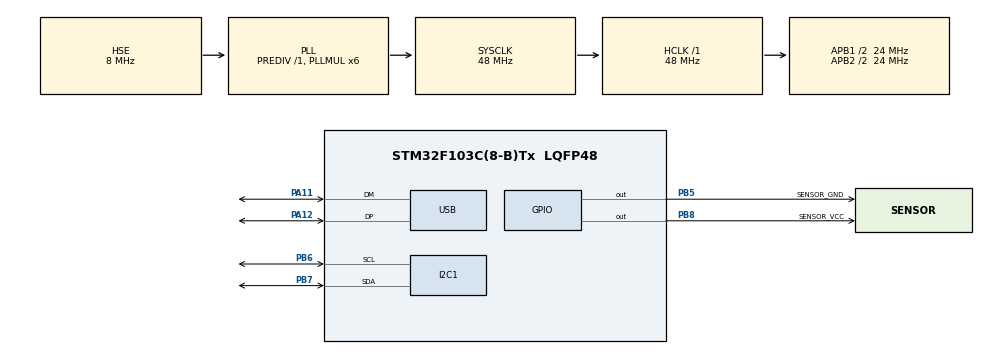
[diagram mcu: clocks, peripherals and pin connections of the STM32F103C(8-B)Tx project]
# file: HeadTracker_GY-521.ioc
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I2C1.I2C_Mode=I2C_Fast
Mcu.Family=STM32F1
Mcu.Name=STM32F103C(8-B)Tx
Mcu.Package=LQFP48
NVIC.PriorityGroup=NVIC_PRIORITYGROUP_4
NVIC.USB_LP_CAN1_RX0_IRQn=true\:0\:0\:false\:false\:true\:false\:true\:true
PA11.Mode=Device
PA11.Signal=USB_DM
PA12.Mode=Device
PA12.Signal=USB_DP
PA13.Mode=Serial_Wire
PA13.Signal=SYS_JTMS-SWDIO
PA14.Mode=Serial_Wire
PA14.Signal=SYS_JTCK-SWCLK
PB5.GPIO_Label=SENSOR_GND
PB5.GPIO_PuPd=GPIO_PULLDOWN
PB5.Signal=GPIO_Output
PB6.Mode=I2C
PB6.Signal=I2C1_SCL
PB7.Mode=I2C
PB7.Signal=I2C1_SDA
PB8.GPIO_Label=SENSOR_VCC
PB8.GPIO_PuPd=GPIO_PULLUP
PB8.Signal=GPIO_Output
PD0-OSC_IN.Mode=HSE-External-Oscillator
PD0-OSC_IN.Signal=RCC_OSC_IN
PD1-OSC_OUT.Mode=HSE-External-Oscillator
PD1-OSC_OUT.Signal=RCC_OSC_OUT
ProjectManager.HeapSize=0x200
ProjectManager.StackSize=0x400
ProjectManager.TargetToolchain=STM32CubeIDE
RCC.AHBFreq_Value=48000000
RCC.APB1CLKDivider=RCC_HCLK_DIV2
RCC.APB1Freq_Value=24000000
RCC.APB1TimFreq_Value=48000000
RCC.APB2CLKDivider=RCC_HCLK_DIV2
RCC.APB2Freq_Value=24000000
RCC.APB2TimFreq_Value=48000000
RCC.HCLKFreq_Value=48000000
RCC.PLLMUL=RCC_PLL_MUL6
RCC.SYSCLKFreq_VALUE=48000000
RCC.SYSCLKSource=RCC_SYSCLKSOURCE_PLLCLK
RCC.USBFreq_Value=48000000
USB_DEVICE.CLASS_NAME_FS=HID
USB_DEVICE.VirtualMode=Hid
USB_DEVICE.VirtualModeFS=Hid_FS
VP_USB_DEVICE_VS_USB_DEVICE_HID_FS.Mode=HID_FS
board=custom

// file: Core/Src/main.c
/* USER CODE BEGIN Header */
/**
  ******************************************************************************
  * @file           : main.c
  * @brief          : Main program body
  ******************************************************************************
  * @attention
  *
  * Copyright (c) 2023 STMicroelectronics.
  * All rights reserved.
  *
  * This software is licensed under terms that can be found in the LICENSE file
  * in the root directory of this software component.
  * If no LICENSE file comes with this software, it is provided AS-IS.
  *
  ******************************************************************************
  */
/* USER CODE END Header */
#include "main.h"
#include "usb_device.h"

/* USER CODE BEGIN Includes */
#include "mpu6050.h"
#include "usbd_hid.h"
/* USER CODE END Includes */

/* USER CODE BEGIN PTD */
typedef struct
{
  uint8_t button;
  int8_t  mouse_x;
  int8_t  mouse_y;
  int8_t  wheel;

} mouseHID;
/* USER CODE END PTD */

I2C_HandleTypeDef hi2c1;

/* USER CODE BEGIN PV */
mouseHID mousehid = { 0 };
/* USER CODE END PV */

void SystemClock_Config(void);
static void MX_GPIO_Init(void);
static void MX_I2C1_Init(void);

int main(void)
{
  /* USER CODE BEGIN 1 */
  extern USBD_HandleTypeDef hUsbDeviceFS;

  mpu6050_t sensor;
  /* USER CODE END 1 */

  /* MCU Configuration--------------------------------------------------------*/

  /* Reset of all peripherals, Initializes the Flash interface and the Systick. */
  HAL_Init();

  /* Configure the system clock */
  SystemClock_Config();

  /* Initialize all configured peripherals */
  MX_GPIO_Init();
  MX_I2C1_Init();
  MX_USB_DEVICE_Init();
  /* USER CODE BEGIN 2 */
  while (1 == init_mpu6050(&hi2c1, &sensor));

  /* USER CODE END 2 */

  /* Infinite loop */
  /* USER CODE BEGIN WHILE */
  while (1)
  {
    update_mpu6050(&hi2c1, &sensor);

    mousehid.mouse_x = -sensor.angle_z;
    mousehid.mouse_y = -sensor.angle_y;
    /* USER CODE END WHILE */

    /* USER CODE BEGIN 3 */

    USBD_HID_SendReport(&hUsbDeviceFS,(uint8_t*)&mousehid, sizeof (mousehid));

    HAL_Delay(10);
  }
  /* USER CODE END 3 */
}

void SystemClock_Config(void)
{
  RCC_OscInitTypeDef RCC_OscInitStruct = {0};
  RCC_ClkInitTypeDef RCC_ClkInitStruct = {0};
  RCC_PeriphCLKInitTypeDef PeriphClkInit = {0};

  /** Initializes the RCC Oscillators according to the specified parameters
  * in the RCC_OscInitTypeDef structure.
  */
  RCC_OscInitStruct.OscillatorType = RCC_OSCILLATORTYPE_HSE;
  RCC_OscInitStruct.HSEState = RCC_HSE_ON;
  RCC_OscInitStruct.HSEPredivValue = RCC_HSE_PREDIV_DIV1;
  RCC_OscInitStruct.HSIState = RCC_HSI_ON;
  RCC_OscInitStruct.PLL.PLLState = RCC_PLL_ON;
  RCC_OscInitStruct.PLL.PLLSource = RCC_PLLSOURCE_HSE;
  RCC_OscInitStruct.PLL.PLLMUL = RCC_PLL_MUL6;
  if (HAL_RCC_OscConfig(&RCC_OscInitStruct) != HAL_OK)
  {
    Error_Handler();
  }

  /** Initializes the CPU, AHB and APB buses clocks
  */
  RCC_ClkInitStruct.ClockType = RCC_CLOCKTYPE_HCLK|RCC_CLOCKTYPE_SYSCLK
                              |RCC_CLOCKTYPE_PCLK1|RCC_CLOCKTYPE_PCLK2;
  RCC_ClkInitStruct.SYSCLKSource = RCC_SYSCLKSOURCE_PLLCLK;
  RCC_ClkInitStruct.AHBCLKDivider = RCC_SYSCLK_DIV1;
  RCC_ClkInitStruct.APB1CLKDivider = RCC_HCLK_DIV2;
  RCC_ClkInitStruct.APB2CLKDivider = RCC_HCLK_DIV2;

  if (HAL_RCC_ClockConfig(&RCC_ClkInitStruct, FLASH_LATENCY_1) != HAL_OK)
  {
    Error_Handler();
  }
  PeriphClkInit.PeriphClockSelection = RCC_PERIPHCLK_USB;
  PeriphClkInit.UsbClockSelection = RCC_USBCLKSOURCE_PLL;
  if (HAL_RCCEx_PeriphCLKConfig(&PeriphClkInit) != HAL_OK)
  {
    Error_Handler();
  }
}

static void MX_I2C1_Init(void)
{

  hi2c1.Instance = I2C1;
  hi2c1.Init.ClockSpeed = 400000;
  hi2c1.Init.DutyCycle = I2C_DUTYCYCLE_2;
  hi2c1.Init.OwnAddress1 = 0;
  hi2c1.Init.AddressingMode = I2C_ADDRESSINGMODE_7BIT;
  hi2c1.Init.DualAddressMode = I2C_DUALADDRESS_DISABLE;
  hi2c1.Init.OwnAddress2 = 0;
  hi2c1.Init.GeneralCallMode = I2C_GENERALCALL_DISABLE;
  hi2c1.Init.NoStretchMode = I2C_NOSTRETCH_DISABLE;
  if (HAL_I2C_Init(&hi2c1) != HAL_OK)
  {
    Error_Handler();
  }

}

static void MX_GPIO_Init(void)
{
  GPIO_InitTypeDef GPIO_InitStruct = {0};

  /* GPIO Ports Clock Enable */
  __HAL_RCC_GPIOD_CLK_ENABLE();
  __HAL_RCC_GPIOA_CLK_ENABLE();
  __HAL_RCC_GPIOB_CLK_ENABLE();

  /*Configure GPIO pin Output Level */
  HAL_GPIO_WritePin(GPIOB, SENSOR_GND_Pin|SENSOR_VCC_Pin, GPIO_PIN_RESET);

  /*Configure GPIO pin : SENSOR_GND_Pin */
  GPIO_InitStruct.Pin = SENSOR_GND_Pin;
  GPIO_InitStruct.Mode = GPIO_MODE_OUTPUT_PP;
  GPIO_InitStruct.Pull = GPIO_PULLDOWN;
  GPIO_InitStruct.Speed = GPIO_SPEED_FREQ_LOW;
  HAL_GPIO_Init(SENSOR_GND_GPIO_Port, &GPIO_InitStruct);

  /*Configure GPIO pin : SENSOR_VCC_Pin */
  GPIO_InitStruct.Pin = SENSOR_VCC_Pin;
  GPIO_InitStruct.Mode = GPIO_MODE_OUTPUT_PP;
  GPIO_InitStruct.Pull = GPIO_PULLUP;
  GPIO_InitStruct.Speed = GPIO_SPEED_FREQ_LOW;
  HAL_GPIO_Init(SENSOR_VCC_GPIO_Port, &GPIO_InitStruct);

/* USER CODE BEGIN MX_GPIO_Init_2 */
  HAL_Delay(100);
/* USER CODE END MX_GPIO_Init_2 */
}

void Error_Handler(void)
{
  __disable_irq();
  while (1)
  {
  }
}
